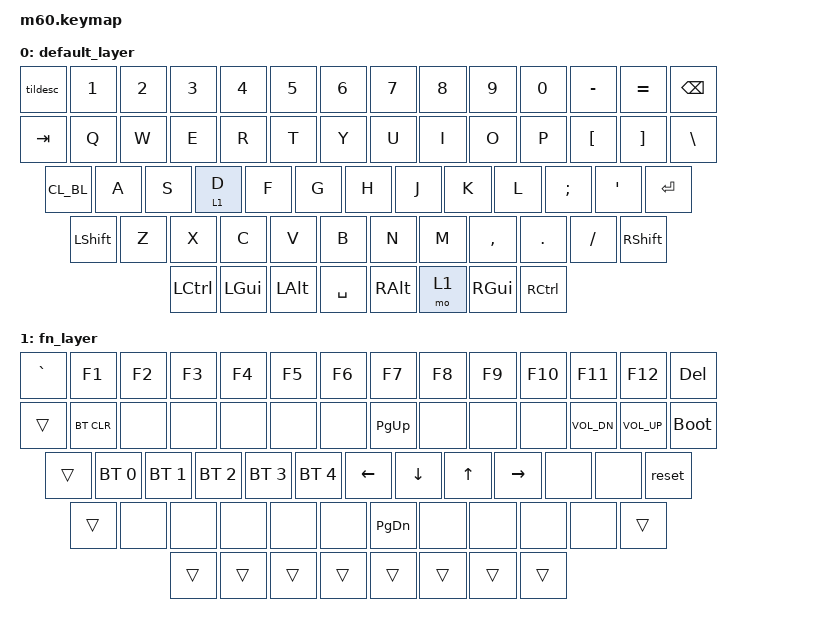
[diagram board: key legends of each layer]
/*
 * Copyright (c) 2020 The ZMK Contributors
 *
 * SPDX-License-Identifier: MIT
 */

#include <behaviors.dtsi>
#include <dt-bindings/zmk/keys.h>
#include <dt-bindings/zmk/bt.h>
#include <dt-bindings/zmk/backlight.h>

/ {

    behaviors {
        tildesc: tilde_esc {
            compatible = "zmk,behavior-mod-morph";
            label = "TILDE_ESC";
            #binding-cells = <0>;
            bindings = <&kp ESC>, <&kp TILDE>;
            mods = <(MOD_LGUI|MOD_LSFT|MOD_RGUI|MOD_RSFT)>;
        };
    };

    ZMK_MACRO(CL_BL,
        bindings = <&kp CLCK>, <&bl BL_TOG>;
    )

    keymap0: keymap {
        compatible = "zmk,keymap";

        default_layer {
// ------------------------------------------------------------------------------------------
// | ESC |  1  |  2  |  3  |  4  |  5  |  6  |  7  |  8  |  9  |  0  |  -  |  =  |   BKSP   |
// | TAB  |  Q  |  W  |  E  |  R  |  T  |  Y  |  U  |  I  |  O  |  P  |  [  |  ]  |    \    |
// | CAPS  |  A  |  S  |  D  |  F  |  G  |  H  |  J  |  K  |  L  |  ;  |  '  |     ENTER    |
// |  SHIFT  |  Z  |  X  |  C  |  V  |  B  |  N  |  M  |  ,  |  .  |  /  |      SHIFT       |
// |  CTL  |  WIN  |  ALT  |            SPACE               | ALT | MO(1) |  WIN  | CTRL    |
// ------------------------------------------------------------------------------------------
            bindings = <
    &tildesc &kp N1 &kp N2 &kp N3 &kp N4 &kp N5 &kp N6 &kp N7 &kp   N8  &kp  N9 &kp  N0  &kp MINUS &kp EQUAL &kp BSPC
    &kp TAB  &kp Q  &kp W  &kp E  &kp R  &kp T  &kp Y  &kp U  &kp   I   &kp  O  &kp   P  &kp LBKT &kp RBKT  &kp BSLH
    &CL_BL  &kp A  &kp S  &lt 1 D  &kp F  &kp G  &kp H  &kp J  &kp   K   &kp  L  &kp SEMI &kp SQT           &kp RET
    &kp LSHFT  &kp Z  &kp X  &kp C  &kp V  &kp B  &kp N  &kp M  &kp COMMA &kp DOT &kp FSLH         &kp RSHFT
    &kp LCTRL &kp LGUI &kp LALT               &kp SPACE                 &kp  RALT  &mo  1  &kp  RGUI  &kp  RCTRL
            >;
        };

        fn_layer {
            bindings = <
&kp GRAVE  &kp F1     &kp F2     &kp F3     &kp F4     &kp F5     &kp F6     &kp F7     &kp F8     &kp F9     &kp F10    &kp F11    &kp F12    &kp DEL
&trans         &bt BT_CLR &none      &none      &none      &none      &none      &kp PG_UP      &none      &none      &none      &kp C_VOL_DN      &kp C_VOL_UP      &bootloader
&trans           &bt BT_SEL 0 &bt BT_SEL 1 &bt BT_SEL 2 &bt BT_SEL 3 &bt BT_SEL 4 &kp LEFT   &kp DOWN   &kp UP   &kp RIGHT   &none      &none      &reset
&trans                &none      &none      &none      &none      &none      &kp PG_DN      &none      &none      &none      &none      &trans
&trans       &trans       &trans       &trans                                                                     &trans     &trans     &trans     &trans
            >;
        };
    };
};
